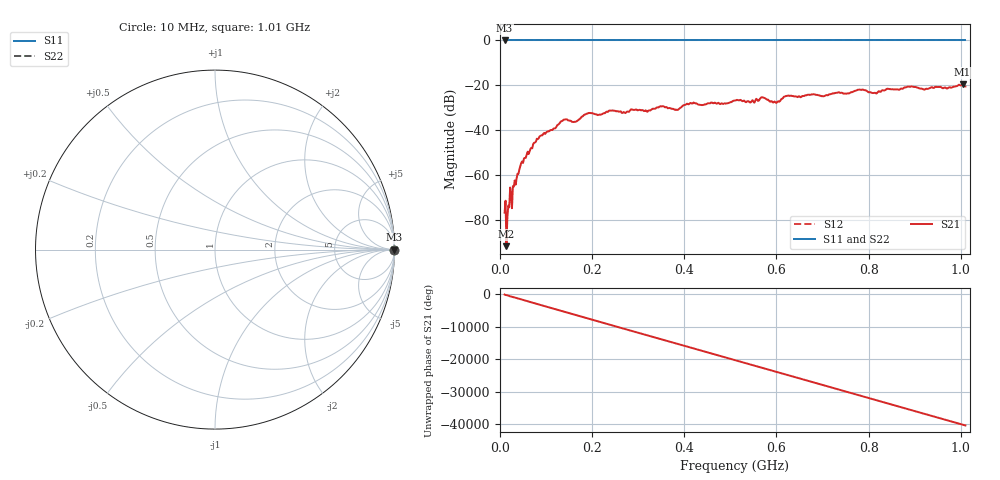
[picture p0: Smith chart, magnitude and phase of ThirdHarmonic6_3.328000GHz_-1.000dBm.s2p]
! 8/17/2025 10:26:52 AM
! C:\ANRITSUVNA\TEMP\TEMP.S2P
! CHANNEL.1
! TR.MEASUREMENT
! RAW.DATA
! RF.CORRECTION.OFF
! AVERAGING.OFF
! IF.BANDWIDTH: 5KHZ
! SWEEPTYPE:  FREQ.SWEEP(Linear)
! Reference Plane Port Info
! PORT:  PORT1  PORT2
! DISTANCE:  0  m  0  m
! TIME:  0  s  0  s
! PHASE.OFFSET:  0  deg.  0  deg.
! LOSS:  0  dB  0  dB
! REF.LOSS:  0  dB  0  dB
! REF.FREQ:  0  Hz  0  Hz
! Power Info
! POWER:  -20  dBm  -20  dBm
! EFF.POWER:  -20  dBm  -20  dBm
! SOURCE.ATTEN:  0  dB  0  dB
! TEST.ATTEN:  0  dB  0  dB
# GHZ S RI R 50.0
! FREQ.GHZ  S11RE  S11IM  S21RE  S21IM  S12RE  S12IM  S22RE  S22IM
!; PortSelection: Port_12
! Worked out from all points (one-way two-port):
!   501 points, 10 MHz to 1.01 GHz, reference 50 ohm
!   highest |S21| = -19.42 dB at 1.004 GHz (marker M1); lowest = -91.4 dB at 14 MHz (marker M2)
!   lowest |S11| = 0.0 dB at 10 MHz (marker M3)
!   |S11| at or under -10 dB: nowhere
!   |S22| runs from 0.0 to 0.0 dB; largest |S21 - S12| = 1.1
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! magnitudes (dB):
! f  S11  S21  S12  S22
! 10 MHz  0.0  -76.5  0.0  0.0
! 14 MHz  0.0  -91.4  0.0  0.0
! 44 MHz  0.0  -55.8  0.0  0.0
! 76 MHz  0.0  -45.3  0.0  0.0
! 136 MHz  0.0  -35.7  0.0  0.0
! 162 MHz  0.0  -36.1  0.0  0.0
! 178 MHz  0.0  -33.8  0.0  0.0
! 344 MHz  0.0  -29.8  0.0  0.0
! 384 MHz  0.0  -30.9  0.0  0.0
! 416 MHz  0.0  -28.0  0.0  0.0
! 510 MHz  0.0  -26.6  0.0  0.0
! 548 MHz  0.0  -26.5  0.0  0.0
! 570 MHz  0.0  -25.3  0.0  0.0
! 596 MHz  0.0  -27.1  0.0  0.0
! 622 MHz  0.0  -24.7  0.0  0.0
! 678 MHz  0.0  -24.0  0.0  0.0
! 702 MHz  0.0  -24.8  0.0  0.0
! 782 MHz  0.0  -21.9  0.0  0.0
! 814 MHz  0.0  -23.3  0.0  0.0
! 844 MHz  0.0  -21.6  0.0  0.0
! 1.004 GHz  0.0  -19.4  0.0  0.0
! 1.01 GHz  0.0  -20.4  0.0  0.0
